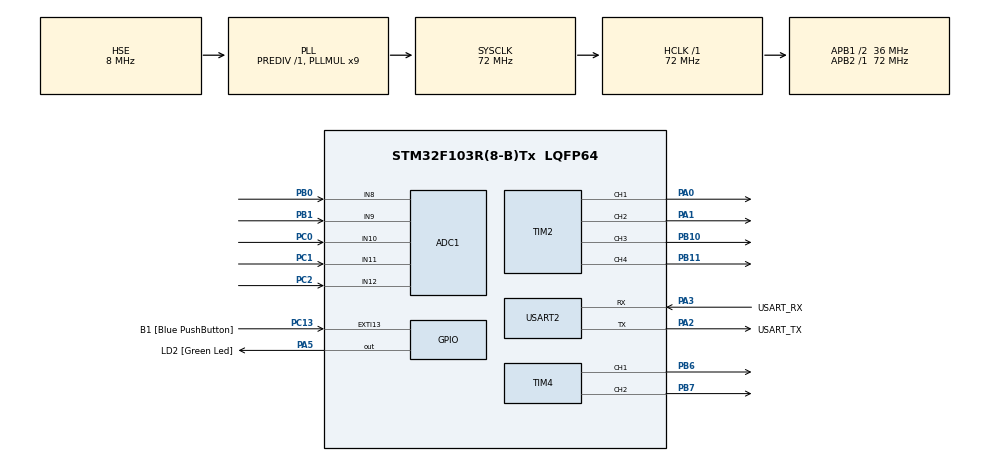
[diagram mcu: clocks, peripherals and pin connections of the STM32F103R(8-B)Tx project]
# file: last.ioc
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ADC1.Channel-0\#ChannelRegularConversion=ADC_CHANNEL_10
ADC1.Channel-1\#ChannelRegularConversion=ADC_CHANNEL_11
ADC1.Channel-2\#ChannelRegularConversion=ADC_CHANNEL_12
ADC1.Channel-3\#ChannelRegularConversion=ADC_CHANNEL_8
ADC1.Channel-4\#ChannelRegularConversion=ADC_CHANNEL_9
ADC1.ContinuousConvMode=ENABLE
ADC1.NbrOfConversion=5
ADC1.NbrOfConversionFlag=1
ADC1.Rank-0\#ChannelRegularConversion=1
ADC1.Rank-1\#ChannelRegularConversion=2
ADC1.Rank-2\#ChannelRegularConversion=3
ADC1.Rank-3\#ChannelRegularConversion=4
ADC1.Rank-4\#ChannelRegularConversion=5
ADC1.SamplingTime-0\#ChannelRegularConversion=ADC_SAMPLETIME_55CYCLES_5
ADC1.SamplingTime-1\#ChannelRegularConversion=ADC_SAMPLETIME_55CYCLES_5
ADC1.SamplingTime-2\#ChannelRegularConversion=ADC_SAMPLETIME_55CYCLES_5
ADC1.SamplingTime-3\#ChannelRegularConversion=ADC_SAMPLETIME_55CYCLES_5
ADC1.SamplingTime-4\#ChannelRegularConversion=ADC_SAMPLETIME_55CYCLES_5
ADC1.master=1
Dma.ADC1.0.Direction=DMA_PERIPH_TO_MEMORY
Dma.ADC1.0.Instance=DMA1_Channel1
Dma.ADC1.0.MemDataAlignment=DMA_MDATAALIGN_HALFWORD
Dma.ADC1.0.MemInc=DMA_MINC_ENABLE
Dma.ADC1.0.Mode=DMA_CIRCULAR
Dma.ADC1.0.PeriphDataAlignment=DMA_PDATAALIGN_HALFWORD
Dma.ADC1.0.PeriphInc=DMA_PINC_DISABLE
Dma.ADC1.0.Priority=DMA_PRIORITY_LOW
Dma.Request0=ADC1
Mcu.Family=STM32F1
Mcu.Name=STM32F103R(8-B)Tx
Mcu.Package=LQFP64
NVIC.DMA1_Channel1_IRQn=true\:0\:0\:false\:false\:true\:false\:true\:true
NVIC.EXTI15_10_IRQn=true\:0\:0\:false\:false\:true\:true\:true\:true
NVIC.PriorityGroup=NVIC_PRIORITYGROUP_4
NVIC.TIM2_IRQn=true\:0\:0\:false\:false\:true\:true\:true\:true
NVIC.TIM4_IRQn=true\:0\:0\:false\:false\:true\:true\:true\:true
NVIC.USART2_IRQn=true\:0\:0\:false\:false\:true\:true\:true\:true
PA0-WKUP.Signal=S_TIM2_CH1_ETR
PA1.Signal=S_TIM2_CH2
PA13.GPIO_Label=TMS
PA13.Mode=Serial_Wire
PA13.Signal=SYS_JTMS-SWDIO
PA14.GPIO_Label=TCK
PA14.Mode=Serial_Wire
PA14.Signal=SYS_JTCK-SWCLK
PA2.GPIO_Label=USART_TX
PA2.GPIO_Mode=GPIO_MODE_AF_PP
PA2.GPIO_PuPd=GPIO_NOPULL
PA2.GPIO_Speed=GPIO_SPEED_FREQ_LOW
PA2.Mode=Asynchronous
PA2.Signal=USART2_TX
PA3.GPIO_Label=USART_RX
PA3.GPIO_Mode=GPIO_MODE_AF_PP
PA3.GPIO_PuPd=GPIO_NOPULL
PA3.GPIO_Speed=GPIO_SPEED_FREQ_LOW
PA3.Mode=Asynchronous
PA3.Signal=USART2_RX
PA5.GPIO_Label=LD2 [Green Led]
PA5.GPIO_ModeDefaultOutputPP=GPIO_MODE_OUTPUT_PP
PA5.GPIO_PuPd=GPIO_NOPULL
PA5.GPIO_Speed=GPIO_SPEED_FREQ_LOW
PA5.Signal=GPIO_Output
PB0.Signal=ADCx_IN8
PB1.Signal=ADCx_IN9
PB10.Signal=S_TIM2_CH3
PB11.Signal=S_TIM2_CH4
PB3.GPIO_Label=SWO
PB3.Signal=SYS_JTDO-TRACESWO
PB6.Signal=S_TIM4_CH1
PB7.Signal=S_TIM4_CH2
PC0.Signal=ADCx_IN10
PC1.Signal=ADCx_IN11
PC13-TAMPER-RTC.GPIO_Label=B1 [Blue PushButton]
PC13-TAMPER-RTC.GPIO_PuPd=GPIO_NOPULL
PC13-TAMPER-RTC.Signal=GPXTI13
PC14-OSC32_IN.Signal=RCC_OSC32_IN
PC15-OSC32_OUT.Signal=RCC_OSC32_OUT
PC2.Signal=ADCx_IN12
PD0-OSC_IN.Mode=HSE-External-Oscillator
PD0-OSC_IN.Signal=RCC_OSC_IN
PD1-OSC_OUT.Mode=HSE-External-Oscillator
PD1-OSC_OUT.Signal=RCC_OSC_OUT
ProjectManager.HeapSize=0x200
ProjectManager.StackSize=0x400
ProjectManager.TargetToolchain=STM32CubeIDE
RCC.ADCPresc=RCC_ADCPCLK2_DIV6
RCC.AHBFreq_Value=72000000
RCC.APB1CLKDivider=RCC_HCLK_DIV2
RCC.APB1Freq_Value=36000000
RCC.APB1TimFreq_Value=72000000
RCC.APB2Freq_Value=72000000
RCC.APB2TimFreq_Value=72000000
RCC.HCLKFreq_Value=72000000
RCC.PLLMUL=RCC_PLL_MUL9
RCC.PLLSourceVirtual=RCC_PLLSOURCE_HSE
RCC.RTCClockSelection=RCC_RTCCLKSOURCE_LSE
RCC.SYSCLKFreq_VALUE=72000000
RCC.SYSCLKSource=RCC_SYSCLKSOURCE_PLLCLK
RCC.USBFreq_Value=72000000
SH.ADCx_IN10.0=ADC1_IN10,IN10
SH.ADCx_IN11.0=ADC1_IN11,IN11
SH.ADCx_IN12.0=ADC1_IN12,IN12
SH.ADCx_IN8.0=ADC1_IN8,IN8
SH.ADCx_IN9.0=ADC1_IN9,IN9
SH.S_TIM2_CH1_ETR.0=TIM2_CH1,PWM Generation1 CH1
SH.S_TIM2_CH2.0=TIM2_CH2,PWM Generation2 CH2
SH.S_TIM2_CH3.0=TIM2_CH3,PWM Generation3 CH3
SH.S_TIM2_CH4.0=TIM2_CH4,PWM Generation4 CH4
SH.S_TIM4_CH1.0=TIM4_CH1,PWM Generation1 CH1
SH.S_TIM4_CH2.0=TIM4_CH2,PWM Generation2 CH2
TIM2.Channel-PWM\ Generation1\ CH1=TIM_CHANNEL_1
TIM2.Channel-PWM\ Generation2\ CH2=TIM_CHANNEL_2
TIM2.Channel-PWM\ Generation3\ CH3=TIM_CHANNEL_3
TIM2.Channel-PWM\ Generation4\ CH4=TIM_CHANNEL_4
TIM4.Channel-PWM\ Generation1\ CH1=TIM_CHANNEL_1
TIM4.Channel-PWM\ Generation2\ CH2=TIM_CHANNEL_2
USART2.VirtualMode=VM_ASYNC
VP_TIM2_VS_ClockSourceINT.Mode=Internal
board=NUCLEO-F103RB

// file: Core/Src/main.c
/* USER CODE BEGIN Header */
/**
  ******************************************************************************
  * @file           : main.c
  * @brief          : Main program body
  ******************************************************************************
  * @attention
  *
  * Copyright (c) 2026 STMicroelectronics.
  * All rights reserved.
  *
  * This software is licensed under terms that can be found in the LICENSE file
  * in the root directory of this software component.
  * If no LICENSE file comes with this software, it is provided AS-IS.
  *
  ******************************************************************************
  */
/* USER CODE END Header */
#include "main.h"

/* USER CODE BEGIN Includes */
#include <stdio.h>

/* USER CODE END Includes */

/* USER CODE BEGIN PD */
#define IR_THRESHOLD 4000
#define IS_WHITE(i) (adcBuffer[i] > IR_THRESHOLD)

/* USER CODE END PD */

ADC_HandleTypeDef hadc1;
DMA_HandleTypeDef hdma_adc1;

TIM_HandleTypeDef htim2;
TIM_HandleTypeDef htim4;

UART_HandleTypeDef huart2;

/* USER CODE BEGIN PV */
uint16_t adcBuffer[5];

/* USER CODE END PV */

void SystemClock_Config(void);
static void MX_GPIO_Init(void);
static void MX_DMA_Init(void);
static void MX_USART2_UART_Init(void);
static void MX_ADC1_Init(void);
static void MX_TIM2_Init(void);
static void MX_TIM4_Init(void);
/* USER CODE BEGIN PFP */
typedef enum
{
    NO_TURN = 0,
    TURN_RIGHT_90,
    TURN_LEFT_90
} TurnDirection;

void PID_LineFollow(void);
TurnDirection Detect_Junction(void);
uint8_t Detect_StopCondition(void);

void Turn_Right_90(void);
void Turn_Left_90(void);

void Motor_Forward(uint16_t leftSpeed, uint16_t rightSpeed);
void Motor_Stop(void);

/* USER CODE END PFP */

/* USER CODE BEGIN 0 */
float Kp = 30.0;
float Kd = 0.0;
float Ki = 0.0;

uint16_t BASE_SPEED = 25;

float error = 0;
float lastError = 0;
float integral = 0;

int LEFT_BIAS  = 0;
int RIGHT_BIAS = 2;

/* Redirect printf() to USART2 */
int __io_putchar(int ch)
{
    HAL_UART_Transmit(&huart2, (uint8_t *)&ch, 1, HAL_MAX_DELAY);
    return ch;
}

/* USER CODE END 0 */

int main(void)
{

  /* MCU Configuration--------------------------------------------------------*/

  /* Reset of all peripherals, Initializes the Flash interface and the Systick. */
  HAL_Init();

  /* Configure the system clock */
  SystemClock_Config();

  /* Initialize all configured peripherals */
  MX_GPIO_Init();
  MX_DMA_Init();
  MX_USART2_UART_Init();
  MX_ADC1_Init();
  MX_TIM2_Init();
  MX_TIM4_Init();
  /* USER CODE BEGIN 2 */
  __HAL_TIM_SET_COMPARE(&htim2, TIM_CHANNEL_1, 0);
  __HAL_TIM_SET_COMPARE(&htim2, TIM_CHANNEL_2, 0);
  __HAL_TIM_SET_COMPARE(&htim4, TIM_CHANNEL_1, 0);
  __HAL_TIM_SET_COMPARE(&htim4, TIM_CHANNEL_2, 0);

  HAL_TIM_PWM_Start(&htim2, TIM_CHANNEL_1);
  HAL_TIM_PWM_Start(&htim2, TIM_CHANNEL_2);
  HAL_TIM_PWM_Start(&htim4, TIM_CHANNEL_1);
  HAL_TIM_PWM_Start(&htim4, TIM_CHANNEL_2);

  HAL_Delay(500);

  HAL_ADC_Start_DMA(&hadc1, (uint32_t *)adcBuffer, 5);

  printf("SYSTEM STARTED\r\n");

  /* USER CODE END 2 */

  /* Infinite loop */
  while (1)
  {

    /* USER CODE BEGIN 3 */

	  printf("RAW  : %4d %4d %4d %4d %4d | ",
	         adcBuffer[0],
	         adcBuffer[1],
	         adcBuffer[2],
	         adcBuffer[3],
	         adcBuffer[4]);

	  printf("BW : %c %c %c %c %c\r\n",
	         (adcBuffer[0] > IR_THRESHOLD) ? 'W' : 'B',
	         (adcBuffer[1] > IR_THRESHOLD) ? 'W' : 'B',
	         (adcBuffer[2] > IR_THRESHOLD) ? 'W' : 'B',
	         (adcBuffer[3] > IR_THRESHOLD) ? 'W' : 'B',
	         (adcBuffer[4] > IR_THRESHOLD) ? 'W' : 'B');

	  PID_LineFollow();

	  HAL_Delay(50);

  }
  /* USER CODE END 3 */
}

void SystemClock_Config(void)
{
  RCC_OscInitTypeDef RCC_OscInitStruct = {0};
  RCC_ClkInitTypeDef RCC_ClkInitStruct = {0};
  RCC_PeriphCLKInitTypeDef PeriphClkInit = {0};

  /** Initializes the RCC Oscillators according to the specified parameters
  * in the RCC_OscInitTypeDef structure.
  */
  RCC_OscInitStruct.OscillatorType = RCC_OSCILLATORTYPE_HSE;
  RCC_OscInitStruct.HSEState = RCC_HSE_ON;
  RCC_OscInitStruct.HSEPredivValue = RCC_HSE_PREDIV_DIV1;
  RCC_OscInitStruct.HSIState = RCC_HSI_ON;
  RCC_OscInitStruct.PLL.PLLState = RCC_PLL_ON;
  RCC_OscInitStruct.PLL.PLLSource = RCC_PLLSOURCE_HSE;
  RCC_OscInitStruct.PLL.PLLMUL = RCC_PLL_MUL9;
  if (HAL_RCC_OscConfig(&RCC_OscInitStruct) != HAL_OK)
  {
    Error_Handler();
  }

  /** Initializes the CPU, AHB and APB buses clocks
  */
  RCC_ClkInitStruct.ClockType = RCC_CLOCKTYPE_HCLK|RCC_CLOCKTYPE_SYSCLK
                              |RCC_CLOCKTYPE_PCLK1|RCC_CLOCKTYPE_PCLK2;
  RCC_ClkInitStruct.SYSCLKSource = RCC_SYSCLKSOURCE_PLLCLK;
  RCC_ClkInitStruct.AHBCLKDivider = RCC_SYSCLK_DIV1;
  RCC_ClkInitStruct.APB1CLKDivider = RCC_HCLK_DIV2;
  RCC_ClkInitStruct.APB2CLKDivider = RCC_HCLK_DIV1;

  if (HAL_RCC_ClockConfig(&RCC_ClkInitStruct, FLASH_LATENCY_2) != HAL_OK)
  {
    Error_Handler();
  }
  PeriphClkInit.PeriphClockSelection = RCC_PERIPHCLK_ADC;
  PeriphClkInit.AdcClockSelection = RCC_ADCPCLK2_DIV6;
  if (HAL_RCCEx_PeriphCLKConfig(&PeriphClkInit) != HAL_OK)
  {
    Error_Handler();
  }
}

static void MX_ADC1_Init(void)
{

  ADC_ChannelConfTypeDef sConfig = {0};

  /** Common config
  */
  hadc1.Instance = ADC1;
  hadc1.Init.ScanConvMode = ADC_SCAN_ENABLE;
  hadc1.Init.ContinuousConvMode = ENABLE;
  hadc1.Init.DiscontinuousConvMode = DISABLE;
  hadc1.Init.ExternalTrigConv = ADC_SOFTWARE_START;
  hadc1.Init.DataAlign = ADC_DATAALIGN_RIGHT;
  hadc1.Init.NbrOfConversion = 5;
  if (HAL_ADC_Init(&hadc1) != HAL_OK)
  {
    Error_Handler();
  }

  /** Configure Regular Channel
  */
  sConfig.Channel = ADC_CHANNEL_10;
  sConfig.Rank = ADC_REGULAR_RANK_1;
  sConfig.SamplingTime = ADC_SAMPLETIME_55CYCLES_5;
  if (HAL_ADC_ConfigChannel(&hadc1, &sConfig) != HAL_OK)
  {
    Error_Handler();
  }

  /** Configure Regular Channel
  */
  sConfig.Channel = ADC_CHANNEL_11;
  sConfig.Rank = ADC_REGULAR_RANK_2;
  if (HAL_ADC_ConfigChannel(&hadc1, &sConfig) != HAL_OK)
  {
    Error_Handler();
  }

  /** Configure Regular Channel
  */
  sConfig.Channel = ADC_CHANNEL_12;
  sConfig.Rank = ADC_REGULAR_RANK_3;
  if (HAL_ADC_ConfigChannel(&hadc1, &sConfig) != HAL_OK)
  {
    Error_Handler();
  }

  /** Configure Regular Channel
  */
  sConfig.Channel = ADC_CHANNEL_8;
  sConfig.Rank = ADC_REGULAR_RANK_4;
  if (HAL_ADC_ConfigChannel(&hadc1, &sConfig) != HAL_OK)
  {
    Error_Handler();
  }

  /** Configure Regular Channel
  */
  sConfig.Channel = ADC_CHANNEL_9;
  sConfig.Rank = ADC_REGULAR_RANK_5;
  if (HAL_ADC_ConfigChannel(&hadc1, &sConfig) != HAL_OK)
  {
    Error_Handler();
  }

}

static void MX_TIM2_Init(void)
{

  TIM_ClockConfigTypeDef sClockSourceConfig = {0};
  TIM_MasterConfigTypeDef sMasterConfig = {0};
  TIM_OC_InitTypeDef sConfigOC = {0};

  htim2.Instance = TIM2;
  htim2.Init.Prescaler = 0;
  htim2.Init.CounterMode = TIM_COUNTERMODE_UP;
  htim2.Init.Period = 65535;
  htim2.Init.ClockDivision = TIM_CLOCKDIVISION_DIV1;
  htim2.Init.AutoReloadPreload = TIM_AUTORELOAD_PRELOAD_DISABLE;
  if (HAL_TIM_Base_Init(&htim2) != HAL_OK)
  {
    Error_Handler();
  }
  sClockSourceConfig.ClockSource = TIM_CLOCKSOURCE_INTERNAL;
  if (HAL_TIM_ConfigClockSource(&htim2, &sClockSourceConfig) != HAL_OK)
  {
    Error_Handler();
  }
  if (HAL_TIM_PWM_Init(&htim2) != HAL_OK)
  {
    Error_Handler();
  }
  sMasterConfig.MasterOutputTrigger = TIM_TRGO_RESET;
  sMasterConfig.MasterSlaveMode = TIM_MASTERSLAVEMODE_DISABLE;
  if (HAL_TIMEx_MasterConfigSynchronization(&htim2, &sMasterConfig) != HAL_OK)
  {
    Error_Handler();
  }
  sConfigOC.OCMode = TIM_OCMODE_PWM1;
  sConfigOC.Pulse = 0;
  sConfigOC.OCPolarity = TIM_OCPOLARITY_HIGH;
  sConfigOC.OCFastMode = TIM_OCFAST_DISABLE;
  if (HAL_TIM_PWM_ConfigChannel(&htim2, &sConfigOC, TIM_CHANNEL_1) != HAL_OK)
  {
    Error_Handler();
  }
  if (HAL_TIM_PWM_ConfigChannel(&htim2, &sConfigOC, TIM_CHANNEL_2) != HAL_OK)
  {
    Error_Handler();
  }
  if (HAL_TIM_PWM_ConfigChannel(&htim2, &sConfigOC, TIM_CHANNEL_3) != HAL_OK)
  {
    Error_Handler();
  }
  if (HAL_TIM_PWM_ConfigChannel(&htim2, &sConfigOC, TIM_CHANNEL_4) != HAL_OK)
  {
    Error_Handler();
  }
  HAL_TIM_MspPostInit(&htim2);

}

static void MX_TIM4_Init(void)
{

  TIM_MasterConfigTypeDef sMasterConfig = {0};
  TIM_OC_InitTypeDef sConfigOC = {0};

  htim4.Instance = TIM4;
  htim4.Init.Prescaler = 0;
  htim4.Init.CounterMode = TIM_COUNTERMODE_UP;
  htim4.Init.Period = 65535;
  htim4.Init.ClockDivision = TIM_CLOCKDIVISION_DIV1;
  htim4.Init.AutoReloadPreload = TIM_AUTORELOAD_PRELOAD_DISABLE;
  if (HAL_TIM_PWM_Init(&htim4) != HAL_OK)
  {
    Error_Handler();
  }
  sMasterConfig.MasterOutputTrigger = TIM_TRGO_RESET;
  sMasterConfig.MasterSlaveMode = TIM_MASTERSLAVEMODE_DISABLE;
  if (HAL_TIMEx_MasterConfigSynchronization(&htim4, &sMasterConfig) != HAL_OK)
  {
    Error_Handler();
  }
  sConfigOC.OCMode = TIM_OCMODE_PWM1;
  sConfigOC.Pulse = 0;
  sConfigOC.OCPolarity = TIM_OCPOLARITY_HIGH;
  sConfigOC.OCFastMode = TIM_OCFAST_DISABLE;
  if (HAL_TIM_PWM_ConfigChannel(&htim4, &sConfigOC, TIM_CHANNEL_1) != HAL_OK)
  {
    Error_Handler();
  }
  if (HAL_TIM_PWM_ConfigChannel(&htim4, &sConfigOC, TIM_CHANNEL_2) != HAL_OK)
  {
    Error_Handler();
  }
  HAL_TIM_MspPostInit(&htim4);

}

static void MX_USART2_UART_Init(void)
{

  huart2.Instance = USART2;
  huart2.Init.BaudRate = 115200;
  huart2.Init.WordLength = UART_WORDLENGTH_8B;
  huart2.Init.StopBits = UART_STOPBITS_1;
  huart2.Init.Parity = UART_PARITY_NONE;
  huart2.Init.Mode = UART_MODE_TX_RX;
  huart2.Init.HwFlowCtl = UART_HWCONTROL_NONE;
  huart2.Init.OverSampling = UART_OVERSAMPLING_16;
  if (HAL_UART_Init(&huart2) != HAL_OK)
  {
    Error_Handler();
  }

}

static void MX_DMA_Init(void)
{

  /* DMA controller clock enable */
  __HAL_RCC_DMA1_CLK_ENABLE();

  /* DMA interrupt init */
  /* DMA1_Channel1_IRQn interrupt configuration */
  HAL_NVIC_SetPriority(DMA1_Channel1_IRQn, 0, 0);
  HAL_NVIC_EnableIRQ(DMA1_Channel1_IRQn);

}

static void MX_GPIO_Init(void)
{
  GPIO_InitTypeDef GPIO_InitStruct = {0};

  /* GPIO Ports Clock Enable */
  __HAL_RCC_GPIOC_CLK_ENABLE();
  __HAL_RCC_GPIOD_CLK_ENABLE();
  __HAL_RCC_GPIOA_CLK_ENABLE();
  __HAL_RCC_GPIOB_CLK_ENABLE();

  /*Configure GPIO pin Output Level */
  HAL_GPIO_WritePin(LD2_GPIO_Port, LD2_Pin, GPIO_PIN_RESET);

  /*Configure GPIO pin : B1_Pin */
  GPIO_InitStruct.Pin = B1_Pin;
  GPIO_InitStruct.Mode = GPIO_MODE_IT_RISING;
  GPIO_InitStruct.Pull = GPIO_NOPULL;
  HAL_GPIO_Init(B1_GPIO_Port, &GPIO_InitStruct);

  /*Configure GPIO pin : LD2_Pin */
  GPIO_InitStruct.Pin = LD2_Pin;
  GPIO_InitStruct.Mode = GPIO_MODE_OUTPUT_PP;
  GPIO_InitStruct.Pull = GPIO_NOPULL;
  GPIO_InitStruct.Speed = GPIO_SPEED_FREQ_LOW;
  HAL_GPIO_Init(LD2_GPIO_Port, &GPIO_InitStruct);

  /* EXTI interrupt init*/
  HAL_NVIC_SetPriority(EXTI15_10_IRQn, 0, 0);
  HAL_NVIC_EnableIRQ(EXTI15_10_IRQn);

}

/* USER CODE BEGIN 4 */
int getLineError(void)

{

    if (adcBuffer[2] > IR_THRESHOLD) return 0;

    if (adcBuffer[1] > IR_THRESHOLD) return -1;

    if (adcBuffer[0] > IR_THRESHOLD) return -2;

    if (adcBuffer[3] > IR_THRESHOLD) return 1;

    if (adcBuffer[4] > IR_THRESHOLD) return 2;

    // No sensor detected white

    return 99;

}

void PID_LineFollow(void)

{

	if (Detect_StopCondition())

	    {

	        printf("STOP CONDITION DETECTED\r\n");

	        Motor_Stop();

	        return;   // stop everything

	    }

	TurnDirection turn = Detect_Junction();

	    if (turn == TURN_RIGHT_90)

	    {

	        printf("JUNCTION: RIGHT TURN\r\n");

	        Turn_Right_90();

	        return;   // skip PID for this loop

	    }

	    else if (turn == TURN_LEFT_90)

	    {

	        printf("JUNCTION: LEFT TURN\r\n");

	        Turn_Left_90();

	        return;   // skip PID for this loop

	    }

    int sensedError = getLineError();

    // If no sensor sees white, keep last direction

    if (sensedError != 99)

        error = sensedError;

    // PID math

    integral += error;

    float derivative = error - lastError;

    float correction = (Kp * error) + (Ki * integral) + (Kd * derivative);

    int leftSpeed  = BASE_SPEED + LEFT_BIAS  - correction;

    int rightSpeed = BASE_SPEED + RIGHT_BIAS + correction;

    // Clamp speeds

    if (leftSpeed < 0) leftSpeed = 0;

    if (rightSpeed < 0) rightSpeed = 0;

    if (leftSpeed > 100) leftSpeed = 100;

    if (rightSpeed > 100) rightSpeed = 100;

    Motor_Forward(rightSpeed, leftSpeed);

    lastError = error;

}

/* Simple speed control using TIM2 */

void Motors_SetSpeed(uint16_t leftSpeed, uint16_t rightSpeed)

{

    if (leftSpeed > 100)  leftSpeed = 100;

    if (rightSpeed > 100) rightSpeed = 100;

    uint16_t leftPWM  = (leftSpeed  * 65535) / 100;

    uint16_t rightPWM = (rightSpeed * 65535) / 100;

    // LEFT MOTOR

    __HAL_TIM_SET_COMPARE(&htim2, TIM_CHANNEL_1, leftPWM);

    __HAL_TIM_SET_COMPARE(&htim2, TIM_CHANNEL_2, 0);

    // RIGHT MOTOR

    __HAL_TIM_SET_COMPARE(&htim4, TIM_CHANNEL_1, rightPWM);

    __HAL_TIM_SET_COMPARE(&htim4, TIM_CHANNEL_2, 0);

}

void Motor_Forward(uint16_t leftSpeed, uint16_t rightSpeed)

{

    if (leftSpeed > 100)  leftSpeed = 100;

    if (rightSpeed > 100) rightSpeed = 100;

    uint16_t leftPWM  = (leftSpeed  * 65535) / 100;

    uint16_t rightPWM = (rightSpeed * 65535) / 100;

    // LEFT MOTOR

    __HAL_TIM_SET_COMPARE(&htim2, TIM_CHANNEL_1, leftPWM);

    __HAL_TIM_SET_COMPARE(&htim2, TIM_CHANNEL_2, 0);

    // RIGHT MOTOR

    __HAL_TIM_SET_COMPARE(&htim4, TIM_CHANNEL_1, rightPWM);

    __HAL_TIM_SET_COMPARE(&htim4, TIM_CHANNEL_2, 0);

}

void Motor_Stop(void)

{

    __HAL_TIM_SET_COMPARE(&htim2, TIM_CHANNEL_1, 0);

    __HAL_TIM_SET_COMPARE(&htim2, TIM_CHANNEL_2, 0);

    __HAL_TIM_SET_COMPARE(&htim4, TIM_CHANNEL_1, 0);

    __HAL_TIM_SET_COMPARE(&htim4, TIM_CHANNEL_2, 0);

}

TurnDirection Detect_Junction(void)

{

    // 0,1,2 are WHITE → RIGHT turn

    if (IS_WHITE(0) && IS_WHITE(1) && IS_WHITE(2))

        return TURN_RIGHT_90;

    // 2,3,4 are WHITE → LEFT turn

    if (IS_WHITE(2) && IS_WHITE(3) && IS_WHITE(4))

        return TURN_LEFT_90;

    return NO_TURN;

}

uint8_t Detect_StopCondition(void)

{

    return ( IS_WHITE(0) &&

             IS_WHITE(4) );

}

void Turn_Left_90(void)

{

    Motor_Stop();

    HAL_Delay(50);

    // Left motor forward, right motor stop

    __HAL_TIM_SET_COMPARE(&htim2, TIM_CHANNEL_1, 35000);

    __HAL_TIM_SET_COMPARE(&htim2, TIM_CHANNEL_2, 0);

    __HAL_TIM_SET_COMPARE(&htim4, TIM_CHANNEL_1, 0);

    __HAL_TIM_SET_COMPARE(&htim4, TIM_CHANNEL_2, 0);

    HAL_Delay(350);   // tune this

    Motor_Stop();

}

void Turn_Right_90(void)

{

    Motor_Stop();

    HAL_Delay(50);

    // Right motor forward, left motor stop

    __HAL_TIM_SET_COMPARE(&htim2, TIM_CHANNEL_1, 0);

    __HAL_TIM_SET_COMPARE(&htim2, TIM_CHANNEL_2, 0);

    __HAL_TIM_SET_COMPARE(&htim4, TIM_CHANNEL_1, 35000);

    __HAL_TIM_SET_COMPARE(&htim4, TIM_CHANNEL_2, 0);

    HAL_Delay(350);   // tune this

    Motor_Stop();

}

/* USER CODE END 4 */

void Error_Handler(void)
{
  __disable_irq();
  while (1)
  {
  }
}
